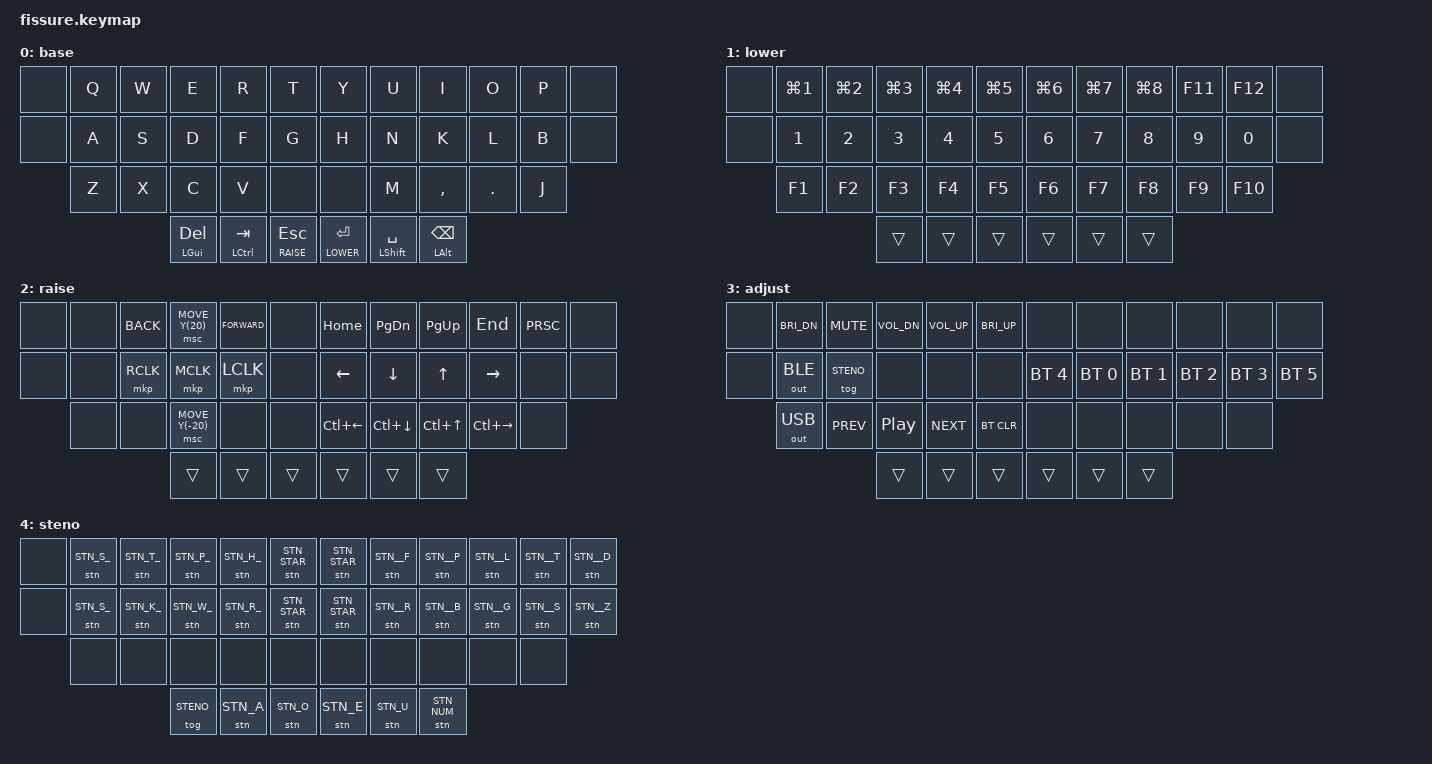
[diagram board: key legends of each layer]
/*
 * Copyright (c) 2020 The ZMK Contributors
 *
 * SPDX-License-Identifier: MIT
 */

#include <behaviors.dtsi>
#include <dt-bindings/zmk/keys.h>
#include <dt-bindings/zmk/modifiers.h>
#include <dt-bindings/zmk/bt.h>
#include <dt-bindings/zmk/outputs.h>
#include <dt-bindings/zmk/mouse.h>
#include "../steno/impl/zmk/steno_keys.h"

/ {
    behaviors {
        // My Modtap
        mm: behavior_mod_tap {
            compatible = "zmk,behavior-hold-tap";
            #binding-cells = <2>;
            flavor = "balanced";
            tapping-term-ms = <150>;
            bindings = <&kp>, <&kp>;
        };
        // My Layertap
        ml: behavior_layer_tap {
            compatible = "zmk,behavior-hold-tap";
            #binding-cells = <2>;
            flavor = "hold-preferred";
            tapping-term-ms = <150>;
            bindings = <&mo>, <&kp>;
        };
        qm: behavior_quick_mod {
            compatible = "zmk,behavior-hold-tap";
            #binding-cells = <2>;
            flavor = "hold-preferred";
            tapping-term-ms = <150>;
            quick-tap-ms = <250>;
            bindings = <&kp>, <&kp>;
        };
        ql: behavior_quick_layer {
            compatible = "zmk,behavior-hold-tap";
            #binding-cells = <2>;
            flavor = "hold-preferred";
            tapping-term-ms = <150>;
            quick-tap-ms = <250>;
            bindings = <&mo>, <&kp>;
        };
    };
    combos {
        compatible = "zmk,combos";
#define CONCAT2(x, y) x ## y
#define CONCAT(x, y) CONCAT2(x, y)
#define COMBO(pos, k) CONCAT(combo, __COUNTER__) { key-positions = <pos>; bindings = <&kp k>; layers = <0 1 2 3 4>; timeout-ms = <60>; };
        COMBO(1 2, PERCENT)
        COMBO(2 3, BSLH)
        COMBO(3 4, LBKT)
        COMBO(7 8, RBKT)
        COMBO(8 9, EQUAL)
        COMBO(9 10, PLUS)

        COMBO(13 14, CARET)
        COMBO(14 15, DOLLAR)
        COMBO(15 16, LPAR)
        COMBO(19 20, RPAR)
        COMBO(20 21, SEMI)
        COMBO(21 22, COLON)

        COMBO(24 25, EXCL)
        COMBO(25 26, AT)
        COMBO(26 27, LBRC)
        COMBO(30 31, RBRC)
        COMBO(31 32, FSLH)
        COMBO(32 33, QMARK)

        COMBO(2 14, GRAVE)
        COMBO(3 15, AMPS)
        COMBO(4 16, STAR)
        COMBO(7 19, UNDER)
        COMBO(8 20, DQT)
        COMBO(9 21, SQT)

        COMBO(14 25, TILDE)
        COMBO(15 26, PIPE)
        COMBO(16 27, HASH)
        COMBO(19 30, MINUS)
        COMBO(20 31, LT)
        COMBO(21 32, GT)
    };
#define BASE 0
#define LOWER 1
#define RAISE 2
#define ADJUST 3
#define STENO 4

    conditional_layers {
        compatible = "zmk,conditional-layers";
        tri_layer {
            if-layers = <LOWER RAISE>;
            then-layer = <ADJUST>;
        };
    };

    keymap0: keymap {
        compatible = "zmk,keymap";
        base {
            bindings = <
&none     &kp Q        &kp W       &kp E        &kp R         &kp T         &kp Y         &kp U         &kp I        &kp O         &kp P       &none
&none     &kp A        &kp S       &kp D        &kp F         &kp G         &kp H         &kp N         &kp K        &kp L         &kp B       &none
          &kp Z        &kp X       &kp C        &kp V         &none         &none         &kp M         &kp COMMA    &kp DOT       &kp J
                                   &mm LGUI DEL &mm LCTRL TAB &ml RAISE ESC &ml LOWER RET &mm LSHFT SPC &mm LALT BSPC
            >;
        };

        lower {
            bindings = <
&none     &kp LG(N1)   &kp LG(N2)  &kp LG(N3)   &kp LG(N4)    &kp LG(N5)    &kp LG(N6)    &kp LG(N7)    &kp LG(N8)   &kp F11       &kp F12     &none
&none     &kp N1       &kp N2      &kp N3       &kp N4        &kp N5        &kp N6        &kp N7        &kp N8       &kp N9        &kp N0      &none
          &kp F1       &kp F2      &kp F3       &kp F4        &kp F5        &kp F6        &kp F7        &kp F8       &kp F9        &kp F10
                                   &trans       &trans        &trans        &trans        &trans        &trans
            >;
        };

        raise {
            bindings = <
&none &none &kp K_BACK  &msc MOVE_Y(20) &kp K_FORWARD  &none  &kp HOME      &kp PG_DN     &kp PG_UP    &kp END       &kp PRSC    &none
&none &none &mkp RCLK  &mkp MCLK &mkp LCLK  &none &kp LEFT      &kp DOWN      &kp UP       &kp RIGHT     &none       &none
          &none &none  &msc MOVE_Y(-20)     &none    &none    &kp LC(LEFT)  &kp LC(DOWN)  &kp LC(UP)   &kp LC(RIGHT) &none
                                   &trans       &trans        &trans        &trans        &trans        &trans
            >;
        };

        adjust {
            bindings = <
&none &kp C_BRI_DN &kp C_MUTE  &kp C_VOL_DN &kp C_VOL_UP  &kp C_BRI_UP  &none &none &none &none &none &none
&none &out OUT_BLE &tog STENO  &none &none  &none  &bt BT_SEL 4 &bt BT_SEL 0 &bt BT_SEL 1 &bt BT_SEL 2 &bt BT_SEL 3 &bt BT_SEL 5
          &out OUT_USB &kp C_PREV  &kp C_PP     &kp C_NEXT    &bt BT_CLR    &none &none &none &none &none
                                   &trans       &trans        &trans        &trans        &trans        &trans
            >;
        };

        steno {
            bindings = <
&none     &stn STN_S_  &stn STN_T_ &stn STN_P_  &stn STN_H_   &stn STN_STAR &stn STN_STAR &stn STN__F   &stn STN__P  &stn STN__L   &stn STN__T &stn STN__D
&none     &stn STN_S_  &stn STN_K_ &stn STN_W_  &stn STN_R_   &stn STN_STAR &stn STN_STAR &stn STN__R   &stn STN__B  &stn STN__G   &stn STN__S &stn STN__Z
          &none        &none       &none        &none         &none         &none         &none         &none        &none         &none
                                   &tog STENO   &stn STN_A    &stn STN_O    &stn STN_E    &stn STN_U    &stn STN_NUM
            >;
        };
    };
};
